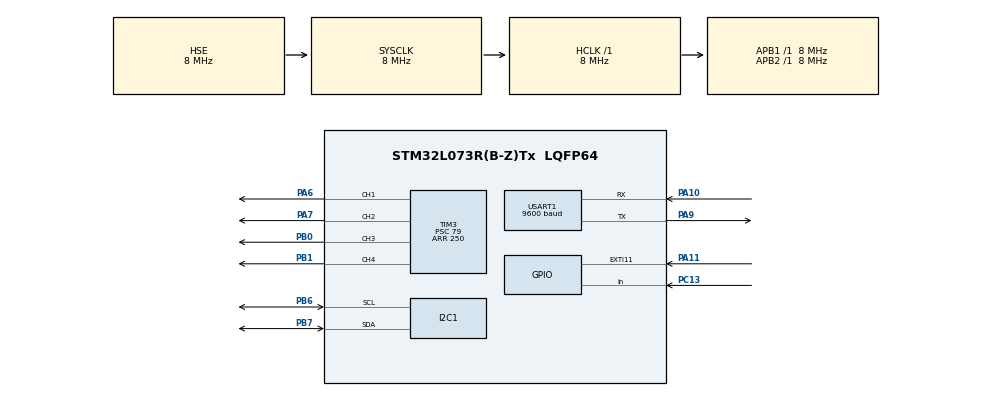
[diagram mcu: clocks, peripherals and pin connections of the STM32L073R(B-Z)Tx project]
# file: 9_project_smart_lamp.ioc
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I2C1.Timing=0x2000090E
Mcu.Family=STM32L0
Mcu.Name=STM32L073R(B-Z)Tx
Mcu.Package=LQFP64
NVIC.EXTI4_15_IRQn=true\:3\:0\:true\:false\:true\:true\:true
NVIC.RTC_IRQn=true\:3\:0\:true\:false\:true\:true\:true
NVIC.TIM6_DAC_IRQn=true\:3\:0\:true\:false\:true\:true\:true
NVIC.TIM7_IRQn=true\:3\:0\:true\:false\:true\:true\:true
PA10.Mode=Asynchronous
PA10.Signal=USART1_RX
PA11.Signal=GPXTI11
PA13.Mode=Serial_Wire
PA13.Signal=SYS_SWDIO
PA14.Mode=Serial_Wire
PA14.Signal=SYS_SWCLK
PA6.Signal=S_TIM3_CH1
PA7.Signal=S_TIM3_CH2
PA9.Mode=Asynchronous
PA9.Signal=USART1_TX
PB0.Signal=S_TIM3_CH3
PB1.Signal=S_TIM3_CH4
PB6.Mode=I2C
PB6.Signal=I2C1_SCL
PB7.Mode=I2C
PB7.Signal=I2C1_SDA
PC13.Signal=GPIO_Input
PC14-OSC32_IN.Mode=LSE-External-Oscillator
PC14-OSC32_IN.Signal=RCC_OSC32_IN
PC15-OSC32_OUT.Mode=LSE-External-Oscillator
PC15-OSC32_OUT.Signal=RCC_OSC32_OUT
PH0-OSC_IN.Mode=HSE-External-Oscillator
PH0-OSC_IN.Signal=RCC_OSC_IN
PH1-OSC_OUT.Mode=HSE-External-Oscillator
PH1-OSC_OUT.Signal=RCC_OSC_OUT
ProjectManager.HeapSize=0x200
ProjectManager.StackSize=0x400
ProjectManager.TargetToolchain=STM32CubeIDE
RCC.AHBFreq_Value=8000000
RCC.APB1Freq_Value=8000000
RCC.APB1TimFreq_Value=8000000
RCC.APB2Freq_Value=8000000
RCC.APB2TimFreq_Value=8000000
RCC.HCLKFreq_Value=8000000
RCC.HSE_VALUE=8000000
RCC.HSI16_VALUE=16000000
RCC.HSI48_VALUE=48000000
RCC.HSI_VALUE=16000000
RCC.MSI_VALUE=2097000
RCC.RTCClockSelection=RCC_RTCCLKSOURCE_LSE
RCC.SYSCLKFreq_VALUE=8000000
RCC.SYSCLKSource=RCC_SYSCLKSOURCE_HSE
RCC.VCOOutputFreq_Value=48000000
RTC.Alarm-Alarm\ A=RTC_ALARM_A
RTC.AlarmMaskDateWeekDay-Alarm\ A=RTC_ALARMMASK_DATEWEEKDAY
RTC.AlarmMaskDateWeekDay_B-Alarm\ B=RTC_ALARMMASK_DATEWEEKDAY
RTC.Alarm_B-Alarm\ B=RTC_ALARM_B
RTC.Format=RTC_FORMAT_BIN
SH.S_TIM3_CH1.0=TIM3_CH1,PWM Generation1 CH1
SH.S_TIM3_CH2.0=TIM3_CH2,PWM Generation2 CH2
SH.S_TIM3_CH3.0=TIM3_CH3,PWM Generation3 CH3
SH.S_TIM3_CH4.0=TIM3_CH4,PWM Generation4 CH4
TIM3.Channel-PWM\ Generation1\ CH1=TIM_CHANNEL_1
TIM3.Channel-PWM\ Generation2\ CH2=TIM_CHANNEL_2
TIM3.Channel-PWM\ Generation3\ CH3=TIM_CHANNEL_3
TIM3.Channel-PWM\ Generation4\ CH4=TIM_CHANNEL_4
TIM3.Period=250
TIM3.Prescaler=79
TIM6.Period=0
TIM6.Prescaler=7999
TIM7.Period=0
TIM7.Prescaler=7999
USART1.BaudRate=9600
USART1.SwapParam=ADVFEATURE_SWAP_ENABLE
USART1.VirtualMode-Asynchronous=VM_ASYNC
VP_RTC_VS_RTC_Activate.Mode=RTC_Enabled
VP_RTC_VS_RTC_Alarm_A_Intern.Mode=Alarm A
VP_RTC_VS_RTC_Alarm_B_Intern.Mode=Alarm B
VP_RTC_VS_RTC_Calendar.Mode=RTC_Calendar
VP_TIM6_VS_ClockSourceINT.Mode=Enable_Timer
VP_TIM7_VS_ClockSourceINT.Mode=Enable_Timer
board=custom

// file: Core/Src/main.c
/* USER CODE BEGIN Header */
/**
  ******************************************************************************
  * @file           : main.c
  * @brief          : Main program body
  ******************************************************************************
  * @attention
  *
  * <h2><center>&copy; Copyright (c) 2022 STMicroelectronics.
  * All rights reserved.</center></h2>
  *
  * This software component is licensed by ST under BSD 3-Clause license,
  * the "License"; You may not use this file except in compliance with the
  * License. You may obtain a copy of the License at:
  *                        opensource.org/licenses/BSD-3-Clause
  *
  ******************************************************************************
  */
/* USER CODE END Header */
#include "main.h"
#include "i2c.h"
#include "rtc.h"
#include "tim.h"
#include "usart.h"
#include "gpio.h"

/* USER CODE BEGIN Includes */

#include "BSP/led_gpio.h"
#include "BSP/ble.h"
#include "BSP/max17048.h"

#include "stm32l0xx_hal_tim.h"
#include "stm32l0xx_it.h"

#include <string.h>
#include <stdio.h>

#include <BSP/led_pwm.h>
#include "BSP/ble_func.h"
#include "BSP/pwr_modes.h"
/* USER CODE END Includes */

void SystemClock_Config(void);

int main(void)
{

  /* MCU Configuration--------------------------------------------------------*/

  /* Reset of all peripherals, Initializes the Flash interface and the Systick. */
  HAL_Init();

  /* Configure the system clock */
  SystemClock_Config();

  /* Initialize all configured peripherals */
  MX_GPIO_Init();
  MX_I2C1_Init();
  MX_TIM6_Init();
  MX_TIM7_Init();
  MX_USART1_UART_Init();
  MX_TIM3_Init();
  MX_RTC_Init();
  /* USER CODE BEGIN 2 */

  // below line commented because same PINs are used for PWM
  // led_gpio_set(GREEN, LED_ON);

  // BSP layer MAX17048 sensor init
  init_MAX17048(&hi2c1, MAX17048_I2C_ADDR, 20);

  // BSP layer BLE init
  ble_init(&huart1, BLE_MAX_EXPECTED_RX_HEADER_BYTES, TIMEOUT_MS);

  // BSP layer LED PWM init
  led_pwm_init(&htim3, 250);

  //
  /* USER CODE END 2 */

  /* Infinite loop */
  /* USER CODE BEGIN WHILE */
  while (1)
  {

	  ble_handler();

	  if (g_batt_status == 1)
	  {
		  g_batt_status = 0;

		  // send bat state to mobile phone

		  float vcell_value = 0;

		  get_MAX17048_vcell_value(&vcell_value);

		  // define text we want to send to mobile phone
		  char vcell_tekst[40] = {0};
		  sprintf(&vcell_tekst[0], "Napon baterije je: %.2f V\r\n", vcell_value);

		  // Send to mobile phone
		  HAL_UART_Transmit(ble.uart, (uint8_t*) vcell_tekst, strlen(vcell_tekst), ble.timeout_ms);

	  }

	  // Ulazak u STOP mode
	  if (is_phone_connected() == MOBILE_NOT_CONNECTED &&
			  (get_led_red() == PWM_LED_OFF) &&
			  (get_led_green() == PWM_LED_OFF) &&
			  (get_led_blue() == PWM_LED_OFF) &&
			  (get_led_white() == PWM_LED_OFF))
	  {

		  pwr_modes_stop_preparation();
		  pwr_modes_enter_stop();

	  }

    /* USER CODE END WHILE */

  }
}

void SystemClock_Config(void)
{
  RCC_OscInitTypeDef RCC_OscInitStruct = {0};
  RCC_ClkInitTypeDef RCC_ClkInitStruct = {0};
  RCC_PeriphCLKInitTypeDef PeriphClkInit = {0};

  /** Configure the main internal regulator output voltage
  */
  __HAL_PWR_VOLTAGESCALING_CONFIG(PWR_REGULATOR_VOLTAGE_SCALE1);
  /** Configure LSE Drive Capability
  */
  HAL_PWR_EnableBkUpAccess();
  __HAL_RCC_LSEDRIVE_CONFIG(RCC_LSEDRIVE_LOW);
  /** Initializes the RCC Oscillators according to the specified parameters
  * in the RCC_OscInitTypeDef structure.
  */
  RCC_OscInitStruct.OscillatorType = RCC_OSCILLATORTYPE_HSE|RCC_OSCILLATORTYPE_LSE;
  RCC_OscInitStruct.HSEState = RCC_HSE_ON;
  RCC_OscInitStruct.LSEState = RCC_LSE_ON;
  RCC_OscInitStruct.PLL.PLLState = RCC_PLL_NONE;
  if (HAL_RCC_OscConfig(&RCC_OscInitStruct) != HAL_OK)
  {
    Error_Handler();
  }
  /** Initializes the CPU, AHB and APB buses clocks
  */
  RCC_ClkInitStruct.ClockType = RCC_CLOCKTYPE_HCLK|RCC_CLOCKTYPE_SYSCLK
                              |RCC_CLOCKTYPE_PCLK1|RCC_CLOCKTYPE_PCLK2;
  RCC_ClkInitStruct.SYSCLKSource = RCC_SYSCLKSOURCE_HSE;
  RCC_ClkInitStruct.AHBCLKDivider = RCC_SYSCLK_DIV1;
  RCC_ClkInitStruct.APB1CLKDivider = RCC_HCLK_DIV1;
  RCC_ClkInitStruct.APB2CLKDivider = RCC_HCLK_DIV1;

  if (HAL_RCC_ClockConfig(&RCC_ClkInitStruct, FLASH_LATENCY_0) != HAL_OK)
  {
    Error_Handler();
  }
  PeriphClkInit.PeriphClockSelection = RCC_PERIPHCLK_USART1|RCC_PERIPHCLK_I2C1
                              |RCC_PERIPHCLK_RTC;
  PeriphClkInit.Usart1ClockSelection = RCC_USART1CLKSOURCE_PCLK2;
  PeriphClkInit.I2c1ClockSelection = RCC_I2C1CLKSOURCE_PCLK1;
  PeriphClkInit.RTCClockSelection = RCC_RTCCLKSOURCE_LSE;
  if (HAL_RCCEx_PeriphCLKConfig(&PeriphClkInit) != HAL_OK)
  {
    Error_Handler();
  }
}

void Error_Handler(void)
{
  __disable_irq();
  while (1)
  {
  }
}

/************************ (C) COPYRIGHT STMicroelectronics *****END OF FILE****/
